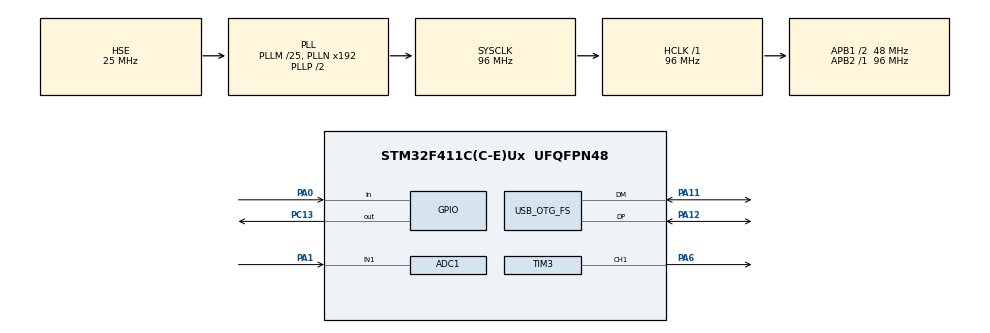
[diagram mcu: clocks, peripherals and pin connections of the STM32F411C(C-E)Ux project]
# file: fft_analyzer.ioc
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ADC1.Channel-0\#ChannelRegularConversion=ADC_CHANNEL_1
ADC1.DMAContinuousRequests=ENABLE
ADC1.ExternalTrigConv=ADC_EXTERNALTRIGCONV_T2_TRGO
ADC1.NbrOfConversionFlag=1
ADC1.Rank-0\#ChannelRegularConversion=1
ADC1.SamplingTime-0\#ChannelRegularConversion=ADC_SAMPLETIME_15CYCLES
ADC1.master=1
Dma.ADC1.0.Direction=DMA_PERIPH_TO_MEMORY
Dma.ADC1.0.FIFOMode=DMA_FIFOMODE_DISABLE
Dma.ADC1.0.Instance=DMA2_Stream0
Dma.ADC1.0.MemDataAlignment=DMA_MDATAALIGN_HALFWORD
Dma.ADC1.0.MemInc=DMA_MINC_ENABLE
Dma.ADC1.0.Mode=DMA_CIRCULAR
Dma.ADC1.0.PeriphDataAlignment=DMA_PDATAALIGN_HALFWORD
Dma.ADC1.0.PeriphInc=DMA_PINC_DISABLE
Dma.ADC1.0.Priority=DMA_PRIORITY_LOW
Dma.Request0=ADC1
Mcu.Family=STM32F4
Mcu.Name=STM32F411C(C-E)Ux
Mcu.Package=UFQFPN48
NVIC.DMA2_Stream0_IRQn=true\:0\:0\:false\:false\:true\:false\:true\:true
NVIC.OTG_FS_IRQn=true\:0\:0\:false\:false\:true\:false\:true\:true
NVIC.PriorityGroup=NVIC_PRIORITYGROUP_4
PA0-WKUP.GPIO_PuPd=GPIO_PULLUP
PA0-WKUP.Signal=GPIO_Input
PA1.Signal=ADCx_IN1
PA11.Mode=Device_Only
PA11.Signal=USB_OTG_FS_DM
PA12.Mode=Device_Only
PA12.Signal=USB_OTG_FS_DP
PA13.Mode=Serial_Wire
PA13.Signal=SYS_JTMS-SWDIO
PA14.Mode=Serial_Wire
PA14.Signal=SYS_JTCK-SWCLK
PA6.Signal=S_TIM3_CH1
PC13-ANTI_TAMP.Signal=GPIO_Output
PH0\ -\ OSC_IN.Mode=HSE-External-Oscillator
PH0\ -\ OSC_IN.Signal=RCC_OSC_IN
PH1\ -\ OSC_OUT.Mode=HSE-External-Oscillator
PH1\ -\ OSC_OUT.Signal=RCC_OSC_OUT
ProjectManager.HeapSize=0x200
ProjectManager.StackSize=0x400
ProjectManager.TargetToolchain=STM32CubeIDE
RCC.48MHZClocksFreq_Value=48000000
RCC.AHBFreq_Value=96000000
RCC.APB1CLKDivider=RCC_HCLK_DIV2
RCC.APB1Freq_Value=48000000
RCC.APB1TimFreq_Value=96000000
RCC.APB2Freq_Value=96000000
RCC.APB2TimFreq_Value=96000000
RCC.CortexFreq_Value=96000000
RCC.HCLKFreq_Value=96000000
RCC.HSE_VALUE=25000000
RCC.HSI_VALUE=16000000
RCC.LSE_VALUE=32768
RCC.PLLM=25
RCC.SYSCLKFreq_VALUE=96000000
RCC.SYSCLKSource=RCC_SYSCLKSOURCE_PLLCLK
RCC.VCOOutputFreq_Value=192000000
SH.ADCx_IN1.0=ADC1_IN1,IN1
SH.S_TIM3_CH1.0=TIM3_CH1,PWM Generation1 CH1
TIM2.Period=99
TIM2.Prescaler=95
TIM2.TIM_MasterOutputTrigger=TIM_TRGO_UPDATE
TIM3.Channel-PWM\ Generation1\ CH1=TIM_CHANNEL_1
TIM3.Period=999
TIM3.Prescaler=95
USB_DEVICE.CLASS_NAME_FS=CDC
USB_DEVICE.VirtualMode=Cdc
USB_DEVICE.VirtualModeFS=Cdc_FS
USB_OTG_FS.VirtualMode=Device_Only
VP_TIM2_VS_ClockSourceINT.Mode=Internal
VP_TIM3_VS_ClockSourceINT.Mode=Internal
VP_USB_DEVICE_VS_USB_DEVICE_CDC_FS.Mode=CDC_FS
board=custom

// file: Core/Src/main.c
/* USER CODE BEGIN Header */
/**
  ******************************************************************************
  * @file           : main.c
  * @brief          : Real-Time Harmonic Distortion (THD) Analyzer
  *                   STM32F411CEU6 (Black Pill), ARM Cortex-M4F @ 96 MHz
  ******************************************************************************
  *  P mode : TIM3 PWM (PA6) --jumper--> ADC1 IN1 (PA1), sampled at 10 kHz
  *           by TIM2 TRGO, moved by DMA2 (circular, ping-pong halves).
  *           PA0 KEY: short press = next load profile (frequency + duty),
  *                    long press (>0.8 s) = toggle FFT / DFT engine.
  *  A mode : samples streamed from the laptop over USB CDC at 16 kHz
  *           (test tone / mic / WAV). Takes over automatically while data
  *           arrives; P mode resumes 0.5 s after it stops.
  *
  *  On-chip DSP per 1024-sample frame:
  *    DC removal -> Hann window -> radix-2 FFT or DFT (FPU) -> magnitude ->
  *    fundamental detection + parabolic interpolation -> THD %
  *  LED PC13 = THD ALARM (on when THD > THD_LIMIT_PCT).
  *  Results streamed to the PC over USB CDC (virtual COM port).
  ******************************************************************************
  */
/* USER CODE END Header */
#include "main.h"
#include "usb_device.h"

/* USER CODE BEGIN Includes */
#include "usbd_cdc_if.h"
#include <math.h>

/* Spectrum engine is selectable at run time (long-press KEY):
 *   FFT : radix-2 Cooley-Tukey, O(N log N)  (default)
 *   DFT : direct summation,     O(N^2)      (for speed comparison)    */
/* USER CODE END Includes */

/* USER CODE BEGIN PD */
#define N_FFT          1024U
#define ADC_FS_HZ      10000U        /* TIM2 trigger rate              */
#define AUDIO_FS_HZ    16000U        /* rate the PC script sends at    */
#define TIM_TICK_HZ    1000000UL     /* TIM3 tick after PSC=95 @96 MHz */
#define TWO_PI_F       6.28318530718f
#define THD_LIMIT_PCT  60.0f         /* demo alarm threshold           */
/* USER CODE END PD */

ADC_HandleTypeDef hadc1;
DMA_HandleTypeDef hdma_adc1;

TIM_HandleTypeDef htim2;
TIM_HandleTypeDef htim3;

/* USER CODE BEGIN PV */
/* ADC (PWM) path */
static uint16_t adc_buf[2 * N_FFT];
static volatile int8_t ready_half = -1;

/* USB audio path (filled from the USB interrupt) */
static int16_t usb_frames[2][N_FFT];
static volatile uint8_t  usb_wr_frame = 0;
static volatile uint32_t usb_wr_idx = 0;
static volatile int8_t   usb_frame_ready = -1;
static volatile uint32_t last_usb_rx_ms = 0;
static uint8_t pend_lo = 0, have_pend = 0;

/* DSP buffers */
static float in_buf[N_FFT];
static int16_t raw_buf[N_FFT];              /* untouched copy of the frame (for display) */
static float mag[N_FFT / 2];
static float hann[N_FFT];
static float tw_cos[N_FFT], tw_sin[N_FFT];  /* twiddle factors e^(-j2*pi*k/N) */
static float fft_im[N_FFT];                 /* imaginary part for the FFT      */
static uint16_t bitrev[N_FFT];              /* bit-reversal permutation        */
static volatile uint8_t use_fft = 1;        /* 1 = FFT, 0 = DFT                */

/* Load profiles selected by the PA0 button.
 * Theoretical THD of an ideal rectangular wave:
 *   50 % duty ~ 48 %,  25 % duty ~ 92 %,  10 % duty ~ 191 %          */
typedef struct { uint32_t freq_hz; uint32_t duty_pct; } profile_t;
static const profile_t profiles[] = {
  {   50, 50 },   /* square-wave inverter output        */
  {   50, 25 },   /* phase-chopped load                 */
  {   50, 10 },   /* pulsed / rectifier-type load       */
  { 1000, 50 },   /* higher-frequency switching signal  */
};
#define N_PROFILES (sizeof(profiles) / sizeof(profiles[0]))
static uint8_t p_idx = 0;

static char tx_buf[(N_FFT / 2) * 11 + N_FFT * 7 + 96];  /* header + 512 mags (max 10 digits) + 1024 samples */
extern USBD_HandleTypeDef hUsbDeviceFS;
/* USER CODE END PV */

void SystemClock_Config(void);
static void MX_GPIO_Init(void);
static void MX_DMA_Init(void);
static void MX_ADC1_Init(void);
static void MX_TIM2_Init(void);
static void MX_TIM3_Init(void);

/* USER CODE BEGIN 0 */
/* Called from CDC_Receive_FS (USB interrupt): raw int16 little-endian */
void audio_rx_bytes(const uint8_t *buf, uint32_t len)
{
  last_usb_rx_ms = HAL_GetTick();
  for (uint32_t i = 0; i < len; i++)
  {
    if (!have_pend) { pend_lo = buf[i]; have_pend = 1; continue; }
    have_pend = 0;
    int16_t s = (int16_t)((uint16_t)pend_lo | ((uint16_t)buf[i] << 8));
    usb_frames[usb_wr_frame][usb_wr_idx++] = s;
    if (usb_wr_idx >= N_FFT)
    {
      usb_frame_ready = (int8_t)usb_wr_frame;
      usb_wr_frame ^= 1U;
      usb_wr_idx = 0;
    }
  }
}

static void set_pwm(uint32_t freq_hz, uint32_t duty_pct)
{
  uint32_t arr = TIM_TICK_HZ / freq_hz - 1U;          /* 50 Hz -> 19999 */
  __HAL_TIM_SET_AUTORELOAD(&htim3, arr);
  __HAL_TIM_SET_COMPARE(&htim3, TIM_CHANNEL_1, ((arr + 1U) * duty_pct) / 100U);
  __HAL_TIM_SET_COUNTER(&htim3, 0);
}

static char *put_uint(char *p, uint32_t v)
{
  char tmp[11];
  int i = 0;
  do { tmp[i++] = (char)('0' + v % 10U); v /= 10U; } while (v);
  while (i) *p++ = tmp[--i];
  return p;
}

static char *put_int(char *p, int32_t v)
{
  if (v < 0) { *p++ = '-'; v = -v; }
  return put_uint(p, (uint32_t)v);
}

static int usb_ready(void)
{
  return (hUsbDeviceFS.dev_state == USBD_STATE_CONFIGURED) &&
         (hUsbDeviceFS.pClassData != NULL);
}

static int usb_wait_idle(uint32_t timeout_ms)
{
  if (!usb_ready()) return 0;
  USBD_CDC_HandleTypeDef *h = (USBD_CDC_HandleTypeDef *)hUsbDeviceFS.pClassData;
  uint32_t t0 = HAL_GetTick();
  while (h->TxState != 0U && (HAL_GetTick() - t0) < timeout_ms) { }
  return (h->TxState == 0U);
}

static void usb_send(char *buf, uint16_t len)
{
  if (!usb_ready()) return;
  uint32_t t0 = HAL_GetTick();
  while (CDC_Transmit_FS((uint8_t *)buf, len) == USBD_BUSY)
  {
    if ((HAL_GetTick() - t0) > 50U) return;
  }
}

static void dsp_init(void)
{
  for (uint32_t n = 0; n < N_FFT; n++)
    hann[n] = 0.5f * (1.0f - cosf(TWO_PI_F * (float)n / (float)(N_FFT - 1U)));
  for (uint32_t n = 0; n < N_FFT; n++)
  {
    tw_cos[n] = cosf(TWO_PI_F * (float)n / (float)N_FFT);
    tw_sin[n] = sinf(TWO_PI_F * (float)n / (float)N_FFT);
  }
  /* bit-reversal table for log2(N_FFT) = 10 bits */
  uint32_t bits = 0;
  while ((1UL << bits) < N_FFT) bits++;
  for (uint32_t i = 0; i < N_FFT; i++)
  {
    uint32_t r = 0;
    for (uint32_t b = 0; b < bits; b++)
      if (i & (1UL << b)) r |= 1UL << (bits - 1U - b);
    bitrev[i] = (uint16_t)r;
  }
  CoreDebug->DEMCR |= CoreDebug_DEMCR_TRCENA_Msk;   /* DWT cycle counter */
  DWT->CYCCNT = 0;
  DWT->CTRL |= DWT_CTRL_CYCCNTENA_Msk;
}

/* In-place iterative radix-2 decimation-in-time FFT (re[] real, im[] imag) */
static void fft_radix2(float *re, float *im)
{
  for (uint32_t i = 0; i < N_FFT; i++)            /* bit-reverse reorder */
  {
    uint32_t j = bitrev[i];
    if (j > i)
    {
      float t = re[i]; re[i] = re[j]; re[j] = t;
      t = im[i]; im[i] = im[j]; im[j] = t;
    }
  }
  for (uint32_t len = 2; len <= N_FFT; len <<= 1) /* log2(N) stages */
  {
    uint32_t half = len >> 1;
    uint32_t step = N_FFT / len;
    for (uint32_t i = 0; i < N_FFT; i += len)
    {
      for (uint32_t j = 0; j < half; j++)          /* butterflies */
      {
        float wr =  tw_cos[j * step];
        float wi = -tw_sin[j * step];
        uint32_t a = i + j, b = a + half;
        float tr = re[b] * wr - im[b] * wi;
        float ti = re[b] * wi + im[b] * wr;
        re[b] = re[a] - tr;  im[b] = im[a] - ti;
        re[a] += tr;         im[a] += ti;
      }
    }
  }
}

/* Energy in +/-2 bins around bin kc (Hann main lobe) */
static float band_power(int32_t kc)
{
  float p = 0.0f;
  for (int32_t k = kc - 2; k <= kc + 2; k++)
    if (k >= 1 && k < (int32_t)(N_FFT / 2)) p += mag[k] * mag[k];
  return p;
}

/* in_buf[] must hold N_FFT raw samples (float).
 * Returns fundamental frequency (Hz); writes transform cycles and THD (%). */
static float analyze(uint32_t fs, uint32_t *cycles, float *thd_pct)
{
  /* 1. remove DC, apply Hann window */
  float mean = 0.0f;
  for (uint32_t n = 0; n < N_FFT; n++) mean += in_buf[n];
  mean /= (float)N_FFT;
  for (uint32_t n = 0; n < N_FFT; n++)
    in_buf[n] = (in_buf[n] - mean) * hann[n];

  /* 2. spectrum, timed with the DWT cycle counter */
  uint32_t c0 = DWT->CYCCNT;
  if (use_fft)
  {
    for (uint32_t n = 0; n < N_FFT; n++) fft_im[n] = 0.0f;
    fft_radix2(in_buf, fft_im);
    for (uint32_t k = 0; k < N_FFT / 2; k++)
      mag[k] = sqrtf(in_buf[k] * in_buf[k] + fft_im[k] * fft_im[k]);
  }
  else
  {
    for (uint32_t k = 0; k < N_FFT / 2; k++)
    {
      float re = 0.0f, im = 0.0f;
      uint32_t idx = 0;
      for (uint32_t n = 0; n < N_FFT; n++)
      {
        re += in_buf[n] * tw_cos[idx];
        im -= in_buf[n] * tw_sin[idx];
        idx = (idx + k) & (N_FFT - 1U);
      }
      mag[k] = sqrtf(re * re + im * im);
    }
  }
  *cycles = DWT->CYCCNT - c0;
  mag[0] = 0.0f;                      /* DC                         */
  mag[1] = 0.0f;                      /* residual DC leakage (Hann) */

  /* 3. fundamental: global max is the fallback; prefer a lower strong
   *    local peak (>= 50 % of max) so a strong 2nd harmonic is not
   *    mistaken for the fundamental                                   */
  uint32_t kmax = 2;
  for (uint32_t k = 3; k < N_FFT / 2 - 1; k++)
    if (mag[k] > mag[kmax]) kmax = k;
  float mmax = mag[kmax];

  uint32_t k0 = kmax;
  for (uint32_t k = 2; k < kmax; k++)
  {
    if (mag[k] >= 0.5f * mmax && mag[k] >= mag[k - 1] && mag[k] >= mag[k + 1])
    { k0 = k; break; }
  }

  /* parabolic interpolation, offset clamped to +/-0.5 bin */
  float a = mag[k0 - 1], b = mag[k0], c = mag[k0 + 1];
  float denom = a - 2.0f * b + c;
  float delta = (denom < 0.0f) ? 0.5f * (a - c) / denom : 0.0f;
  if (delta >  0.5f) delta =  0.5f;
  if (delta < -0.5f) delta = -0.5f;
  float df = (float)fs / (float)N_FFT;
  float f0 = ((float)k0 + delta) * df;   /* k0 >= 2, so f0 >= 1.5 bins */

  /* 4. THD = sqrt(sum of harmonic powers) / fundamental, up to Nyquist */
  *thd_pct = 0.0f;
  if (mmax < 1.0f) return f0;            /* no signal: nothing to measure */
  float p1 = band_power((int32_t)(f0 / df + 0.5f));
  float ph = 0.0f;
  for (uint32_t h = 2; h <= 200U && (float)h * f0 < (float)fs * 0.5f - 3.0f * df; h++)
    ph += band_power((int32_t)((float)h * f0 / df + 0.5f));
  *thd_pct = (p1 > 0.0f) ? 100.0f * sqrtf(ph / p1) : 0.0f;

  return f0;
}

/* F,<src>,<fs>,<set_hz>,<duty>,<f0*10>,<thd*10>,<cycles>,<alg>,<512 magnitudes>,<1024 raw samples>\n
 * alg: 1 = FFT, 0 = DFT                                                        */
static void send_frame(char src, uint32_t fs, uint32_t set_hz, uint32_t duty,
                       float f0, float thd, uint32_t cycles)
{
  if (!usb_wait_idle(20)) return;    /* PC still reading the last frame: skip this one, never overwrite tx_buf */
  char *p = tx_buf;
  *p++ = 'F'; *p++ = ','; *p++ = src; *p++ = ',';
  p = put_uint(p, fs);                         *p++ = ',';
  p = put_uint(p, set_hz);                     *p++ = ',';
  p = put_uint(p, duty);                       *p++ = ',';
  p = put_uint(p, (uint32_t)(f0 * 10.0f));     *p++ = ',';
  p = put_uint(p, (uint32_t)(thd * 10.0f));    *p++ = ',';
  p = put_uint(p, cycles);                     *p++ = ',';
  *p++ = use_fft ? '1' : '0';
  for (uint32_t k = 0; k < N_FFT / 2; k++)
  {
    *p++ = ',';
    p = put_uint(p, (uint32_t)mag[k]);
  }
  for (uint32_t n = 0; n < N_FFT; n++)         /* original time-domain signal */
  {
    *p++ = ',';
    p = put_int(p, raw_buf[n]);
  }
  *p++ = '\n';
  usb_send(tx_buf, (uint16_t)(p - tx_buf));
}

static void set_alarm_led(float thd)
{
  /* PC13 LED is active-low: RESET = ON */
  HAL_GPIO_WritePin(GPIOC, GPIO_PIN_13,
                    (thd > THD_LIMIT_PCT) ? GPIO_PIN_RESET : GPIO_PIN_SET);
}
/* USER CODE END 0 */

int main(void)
{

  /* MCU Configuration--------------------------------------------------------*/

  /* Reset of all peripherals, Initializes the Flash interface and the Systick. */
  HAL_Init();

  /* Configure the system clock */
  SystemClock_Config();

  /* Initialize all configured peripherals */
  MX_GPIO_Init();
  MX_DMA_Init();
  MX_ADC1_Init();
  MX_TIM2_Init();
  MX_TIM3_Init();
  MX_USB_DEVICE_Init();
  /* USER CODE BEGIN 2 */
  dsp_init();
  set_pwm(profiles[p_idx].freq_hz, profiles[p_idx].duty_pct);
  HAL_TIM_PWM_Start(&htim3, TIM_CHANNEL_1);
  HAL_ADC_Start_DMA(&hadc1, (uint32_t *)adc_buf, 2 * N_FFT);
  HAL_TIM_Base_Start(&htim2);        /* starts 10 kHz ADC triggering */
  /* USER CODE END 2 */

  /* Infinite loop */
  while (1)
  {

    /* USER CODE BEGIN 3 */
    /* PA0 button (active low):
     *   short press (< 0.8 s) -> next load profile
     *   long press (>= 0.8 s) -> toggle FFT / DFT engine                 */
    static uint8_t  btn_last = 1;
    static uint32_t btn_down_t = 0;
    uint8_t btn_now = (uint8_t)HAL_GPIO_ReadPin(GPIOA, GPIO_PIN_0);
    if (btn_last == 1U && btn_now == 0U)
    {
      btn_down_t = HAL_GetTick();                      /* pressed  */
    }
    else if (btn_last == 0U && btn_now == 1U)
    {
      uint32_t held = HAL_GetTick() - btn_down_t;      /* released */
      if (held >= 800U)
      {
        use_fft ^= 1U;
      }
      else if (held >= 30U)                            /* debounce */
      {
        p_idx = (uint8_t)((p_idx + 1U) % N_PROFILES);
        set_pwm(profiles[p_idx].freq_hz, profiles[p_idx].duty_pct);
      }
    }
    btn_last = btn_now;

    uint8_t audio_mode = (last_usb_rx_ms != 0U) &&
                         ((HAL_GetTick() - last_usb_rx_ms) < 500U);
    uint32_t cycles;
    float thd;

    /* A mode: one frame of samples received over USB */
    if (usb_frame_ready >= 0)
    {
      int8_t f = usb_frame_ready;
      usb_frame_ready = -1;
      for (uint32_t n = 0; n < N_FFT; n++)
      {
        raw_buf[n] = usb_frames[(uint8_t)f][n];
        in_buf[n] = (float)raw_buf[n];
      }
      float f0 = analyze(AUDIO_FS_HZ, &cycles, &thd);
      set_alarm_led(thd);
      send_frame('A', AUDIO_FS_HZ, 0, 0, f0, thd, cycles);
    }

    /* P mode: one half-buffer of ADC samples from DMA */
    if (ready_half >= 0)
    {
      int8_t h = ready_half;
      ready_half = -1;
      if (!audio_mode)
      {
        const uint16_t *src = &adc_buf[(uint32_t)h * N_FFT];
        for (uint32_t n = 0; n < N_FFT; n++)
        {
          raw_buf[n] = (int16_t)src[n];
          in_buf[n] = (float)src[n];
        }
        float f0 = analyze(ADC_FS_HZ, &cycles, &thd);
        set_alarm_led(thd);
        send_frame('P', ADC_FS_HZ, profiles[p_idx].freq_hz,
                   profiles[p_idx].duty_pct, f0, thd, cycles);
      }
    }
  }
  /* USER CODE END 3 */
}

void SystemClock_Config(void)
{
  RCC_OscInitTypeDef RCC_OscInitStruct = {0};
  RCC_ClkInitTypeDef RCC_ClkInitStruct = {0};

  /** Configure the main internal regulator output voltage
  */
  __HAL_RCC_PWR_CLK_ENABLE();
  __HAL_PWR_VOLTAGESCALING_CONFIG(PWR_REGULATOR_VOLTAGE_SCALE1);

  /** Initializes the RCC Oscillators according to the specified parameters
  * in the RCC_OscInitTypeDef structure.
  */
  RCC_OscInitStruct.OscillatorType = RCC_OSCILLATORTYPE_HSE;
  RCC_OscInitStruct.HSEState = RCC_HSE_ON;
  RCC_OscInitStruct.PLL.PLLState = RCC_PLL_ON;
  RCC_OscInitStruct.PLL.PLLSource = RCC_PLLSOURCE_HSE;
  RCC_OscInitStruct.PLL.PLLM = 25;
  RCC_OscInitStruct.PLL.PLLN = 192;
  RCC_OscInitStruct.PLL.PLLP = RCC_PLLP_DIV2;
  RCC_OscInitStruct.PLL.PLLQ = 4;
  if (HAL_RCC_OscConfig(&RCC_OscInitStruct) != HAL_OK)
  {
    Error_Handler();
  }

  /** Initializes the CPU, AHB and APB buses clocks
  */
  RCC_ClkInitStruct.ClockType = RCC_CLOCKTYPE_HCLK|RCC_CLOCKTYPE_SYSCLK
                              |RCC_CLOCKTYPE_PCLK1|RCC_CLOCKTYPE_PCLK2;
  RCC_ClkInitStruct.SYSCLKSource = RCC_SYSCLKSOURCE_PLLCLK;
  RCC_ClkInitStruct.AHBCLKDivider = RCC_SYSCLK_DIV1;
  RCC_ClkInitStruct.APB1CLKDivider = RCC_HCLK_DIV2;
  RCC_ClkInitStruct.APB2CLKDivider = RCC_HCLK_DIV1;

  if (HAL_RCC_ClockConfig(&RCC_ClkInitStruct, FLASH_LATENCY_3) != HAL_OK)
  {
    Error_Handler();
  }
}

static void MX_ADC1_Init(void)
{

  ADC_ChannelConfTypeDef sConfig = {0};

  /** Configure the global features of the ADC (Clock, Resolution, Data Alignment and number of conversion)
  */
  hadc1.Instance = ADC1;
  hadc1.Init.ClockPrescaler = ADC_CLOCK_SYNC_PCLK_DIV4;   /* 96/4 = 24 MHz (max 36 MHz) */
  hadc1.Init.Resolution = ADC_RESOLUTION_12B;
  hadc1.Init.ScanConvMode = DISABLE;
  hadc1.Init.ContinuousConvMode = DISABLE;
  hadc1.Init.DiscontinuousConvMode = DISABLE;
  hadc1.Init.ExternalTrigConvEdge = ADC_EXTERNALTRIGCONVEDGE_RISING;
  hadc1.Init.ExternalTrigConv = ADC_EXTERNALTRIGCONV_T2_TRGO;
  hadc1.Init.DataAlign = ADC_DATAALIGN_RIGHT;
  hadc1.Init.NbrOfConversion = 1;
  hadc1.Init.DMAContinuousRequests = ENABLE;
  hadc1.Init.EOCSelection = ADC_EOC_SINGLE_CONV;
  if (HAL_ADC_Init(&hadc1) != HAL_OK)
  {
    Error_Handler();
  }

  /** Configure for the selected ADC regular channel its corresponding rank in the sequencer and its sample time.
  */
  sConfig.Channel = ADC_CHANNEL_1;
  sConfig.Rank = 1;
  sConfig.SamplingTime = ADC_SAMPLETIME_15CYCLES;
  if (HAL_ADC_ConfigChannel(&hadc1, &sConfig) != HAL_OK)
  {
    Error_Handler();
  }

}

static void MX_TIM2_Init(void)
{

  TIM_ClockConfigTypeDef sClockSourceConfig = {0};
  TIM_MasterConfigTypeDef sMasterConfig = {0};

  htim2.Instance = TIM2;
  htim2.Init.Prescaler = 95;
  htim2.Init.CounterMode = TIM_COUNTERMODE_UP;
  htim2.Init.Period = 99;
  htim2.Init.ClockDivision = TIM_CLOCKDIVISION_DIV1;
  htim2.Init.AutoReloadPreload = TIM_AUTORELOAD_PRELOAD_DISABLE;
  if (HAL_TIM_Base_Init(&htim2) != HAL_OK)
  {
    Error_Handler();
  }
  sClockSourceConfig.ClockSource = TIM_CLOCKSOURCE_INTERNAL;
  if (HAL_TIM_ConfigClockSource(&htim2, &sClockSourceConfig) != HAL_OK)
  {
    Error_Handler();
  }
  sMasterConfig.MasterOutputTrigger = TIM_TRGO_UPDATE;
  sMasterConfig.MasterSlaveMode = TIM_MASTERSLAVEMODE_DISABLE;
  if (HAL_TIMEx_MasterConfigSynchronization(&htim2, &sMasterConfig) != HAL_OK)
  {
    Error_Handler();
  }

}

static void MX_TIM3_Init(void)
{

  /* USER CODE BEGIN TIM3_Init 0 */
	__HAL_RCC_TIM3_CLK_ENABLE();
  /* USER CODE END TIM3_Init 0 */

  TIM_MasterConfigTypeDef sMasterConfig = {0};
  TIM_OC_InitTypeDef sConfigOC = {0};

  htim3.Instance = TIM3;
  htim3.Init.Prescaler = 95;
  htim3.Init.CounterMode = TIM_COUNTERMODE_UP;
  htim3.Init.Period = 999;
  htim3.Init.ClockDivision = TIM_CLOCKDIVISION_DIV1;
  htim3.Init.AutoReloadPreload = TIM_AUTORELOAD_PRELOAD_DISABLE;
  if (HAL_TIM_PWM_Init(&htim3) != HAL_OK)
  {
    Error_Handler();
  }
  sMasterConfig.MasterOutputTrigger = TIM_TRGO_RESET;
  sMasterConfig.MasterSlaveMode = TIM_MASTERSLAVEMODE_DISABLE;
  if (HAL_TIMEx_MasterConfigSynchronization(&htim3, &sMasterConfig) != HAL_OK)
  {
    Error_Handler();
  }
  sConfigOC.OCMode = TIM_OCMODE_PWM1;
  sConfigOC.Pulse = 500;
  sConfigOC.OCPolarity = TIM_OCPOLARITY_HIGH;
  sConfigOC.OCFastMode = TIM_OCFAST_DISABLE;
  if (HAL_TIM_PWM_ConfigChannel(&htim3, &sConfigOC, TIM_CHANNEL_1) != HAL_OK)
  {
    Error_Handler();
  }
  HAL_TIM_MspPostInit(&htim3);

}

static void MX_DMA_Init(void)
{

  /* DMA controller clock enable */
  __HAL_RCC_DMA2_CLK_ENABLE();

  /* DMA interrupt init */
  /* DMA2_Stream0_IRQn interrupt configuration */
  HAL_NVIC_SetPriority(DMA2_Stream0_IRQn, 0, 0);
  HAL_NVIC_EnableIRQ(DMA2_Stream0_IRQn);

}

static void MX_GPIO_Init(void)
{
  GPIO_InitTypeDef GPIO_InitStruct = {0};

  /* GPIO Ports Clock Enable */
  __HAL_RCC_GPIOC_CLK_ENABLE();
  __HAL_RCC_GPIOH_CLK_ENABLE();
  __HAL_RCC_GPIOA_CLK_ENABLE();

  /*Configure GPIO pin Output Level */
  HAL_GPIO_WritePin(GPIOC, GPIO_PIN_13, GPIO_PIN_RESET);

  /*Configure GPIO pin : PC13 */
  GPIO_InitStruct.Pin = GPIO_PIN_13;
  GPIO_InitStruct.Mode = GPIO_MODE_OUTPUT_PP;
  GPIO_InitStruct.Pull = GPIO_NOPULL;
  GPIO_InitStruct.Speed = GPIO_SPEED_FREQ_LOW;
  HAL_GPIO_Init(GPIOC, &GPIO_InitStruct);

  /*Configure GPIO pin : PA0 */
  GPIO_InitStruct.Pin = GPIO_PIN_0;
  GPIO_InitStruct.Mode = GPIO_MODE_INPUT;
  GPIO_InitStruct.Pull = GPIO_PULLUP;
  HAL_GPIO_Init(GPIOA, &GPIO_InitStruct);

}

/* USER CODE BEGIN 4 */
void HAL_ADC_ConvHalfCpltCallback(ADC_HandleTypeDef *hadc)
{
  if (hadc->Instance == ADC1) ready_half = 0;
}

void HAL_ADC_ConvCpltCallback(ADC_HandleTypeDef *hadc)
{
  if (hadc->Instance == ADC1) ready_half = 1;
}
/* USER CODE END 4 */

void Error_Handler(void)
{
  __disable_irq();
  while (1)
  {
  }
}
